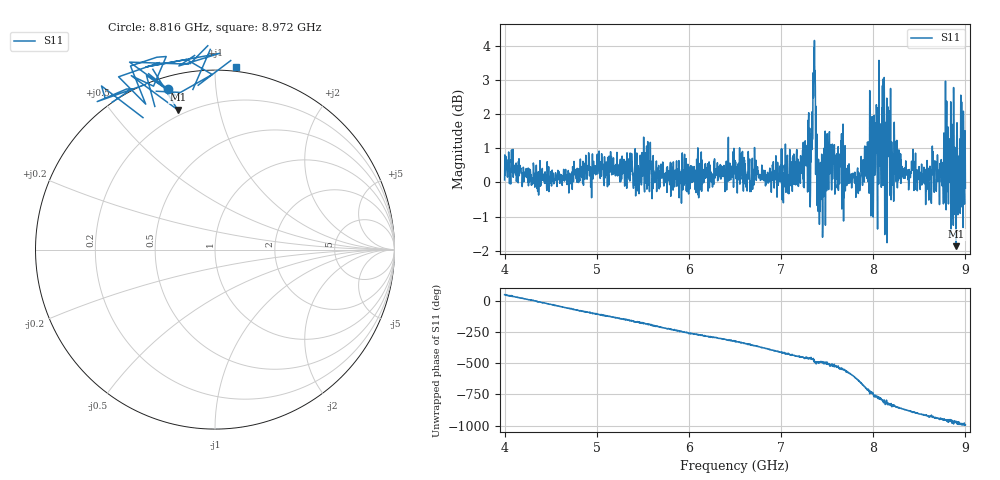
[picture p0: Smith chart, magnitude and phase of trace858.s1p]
! Created with skrf 1.8.0 (http://scikit-rf.org).
# Hz S RI R 50.0
!freq ReS11 ImS11
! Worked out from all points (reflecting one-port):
!   1601 points, 4 GHz to 9 GHz, reference 50 ohm
!   lowest |S11| = -1.9 dB at 8.9 GHz (marker M1), VSWR 9.32, Z = 8.47 + j37.7 ohm
!   phase of S11 starts at 52 deg and turns -1047 deg over the sweep
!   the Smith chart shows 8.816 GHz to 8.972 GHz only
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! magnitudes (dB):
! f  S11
! 4 GHz  0.1
! 4.625 GHz  -0.1
! 5.25 GHz  0.0
! 5.875 GHz  0.1
! 6.5 GHz  0.6
! 7.125 GHz  0.7
! 7.3 GHz  2.0
! 7.328 GHz  1.1
! 7.353 GHz  2.6
! 7.372 GHz  2.8
! 7.4 GHz  -0.4
! 7.428 GHz  0.6
! 7.512 GHz  1.1
! 7.609 GHz  -0.2
! 7.65 GHz  1.2
! 7.75 GHz  0.0
! 7.994 GHz  0.6
! 8.012 GHz  1.6
! 8.066 GHz  1.4
! 8.088 GHz  -0.1
! 8.131 GHz  1.8
! 8.181 GHz  1.5
! 8.216 GHz  0.2
! 8.375 GHz  0.2
! 8.8 GHz  0.0
! 8.9 GHz  -1.9
! 8.972 GHz  0.2
! 9 GHz  -0.2
